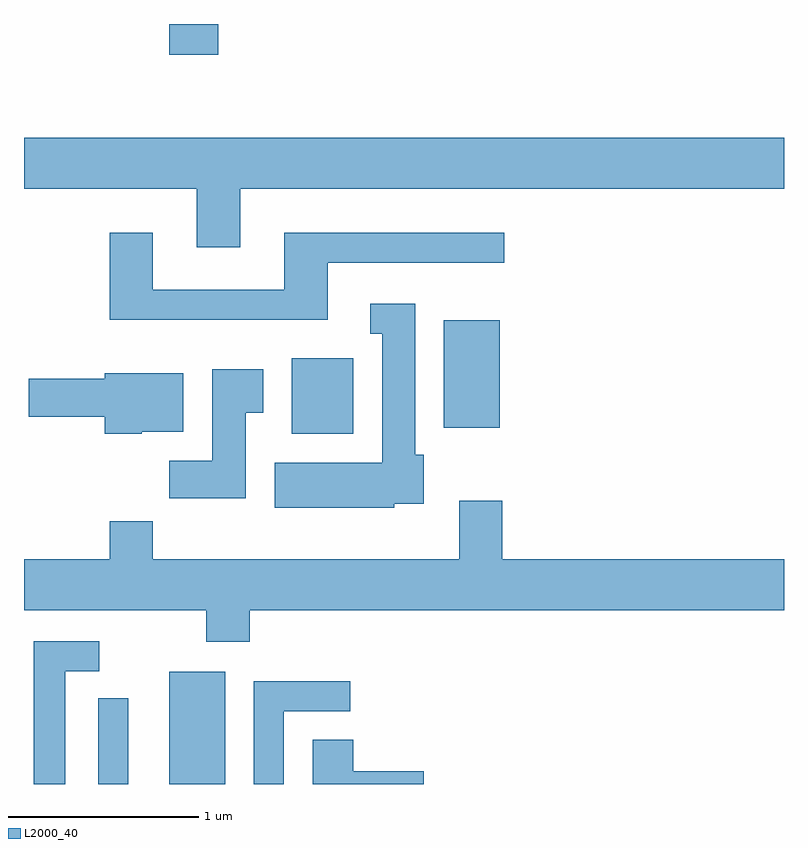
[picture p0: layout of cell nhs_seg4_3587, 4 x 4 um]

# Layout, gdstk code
import gdstk
lib = gdstk.Library(unit=1e-6, precision=1e-09)
def R(c, l, rs):  # rectangles x0, y0, x1, y1
    for r in rs: c.add(gdstk.rectangle(r[:2], r[2:], *l))
def P(c, l, *ps):  # polygons
    for p in ps: c.add(gdstk.Polygon(p, *l))
L2000_40 = (2000, 40)

nhs_seg4_3587 = lib.new_cell('nhs_seg4_3587')
R(nhs_seg4_3587, L2000_40, [(290.001,1355.982,290.159,1356.433), (290.376,1355.982,290.669,1356.574), (291.021,1357.826,291.344,1358.224), (291.821,1357.856,292.114,1358.424), (290.376,1359.821,290.634,1359.982)])
P(nhs_seg4_3587, L2000_40, [(290.749,1359.116),(293.611,1359.116),(293.611,1359.384),(289.611,1359.384),(289.611,1359.116),(290.521,1359.116),(290.521,1358.806),(290.749,1358.806)],
  [(291.209,1358.726),(292.138,1358.726),(292.138,1358.884),(290.981,1358.884),(290.981,1358.584),(290.289,1358.584),(290.289,1358.884),(290.061,1358.884),(290.061,1358.426),(291.209,1358.426)],
  [(291.559,1357.456),(291.714,1357.456),(291.714,1357.714),(291.669,1357.714),(291.669,1358.509),(291.433,1358.509),(291.433,1358.351),(291.496,1358.351),(291.496,1357.674),(290.931,1357.674),(290.931,1357.436),(291.559,1357.436)],
  [(290.779,1357.936),(290.869,1357.936),(290.869,1358.164),(290.601,1358.164),(290.601,1357.684),(290.376,1357.684),(290.376,1357.486),(290.779,1357.486)],
  [(290.23,1357.836),(290.449,1357.836),(290.449,1358.144),(290.036,1358.144),(290.036,1358.114),(289.636,1358.114),(289.636,1357.916),(290.036,1357.916),(290.036,1357.826),(290.23,1357.826)],
  [(290.799,1356.896),(293.611,1356.896),(293.611,1357.164),(292.129,1357.164),(292.129,1357.474),(291.901,1357.474),(291.901,1357.164),(290.289,1357.164),(290.289,1357.364),(290.061,1357.364),(290.061,1357.164),(289.611,1357.164),(289.611,1356.896),(290.571,1356.896),(290.571,1356.731),(290.799,1356.731)],
  [(289.829,1356.576),(290.008,1356.576),(290.008,1356.734),(289.661,1356.734),(289.661,1355.982),(289.829,1355.982)],
  [(290.979,1356.366),(291.328,1356.366),(291.328,1356.524),(290.821,1356.524),(290.821,1355.982),(290.979,1355.982)],
  [(291.714,1356.049),(291.344,1356.049),(291.344,1356.214),(291.131,1356.214),(291.131,1355.982),(291.714,1355.982)])

lib.write_gds('nhs_seg4_3587.gds')
